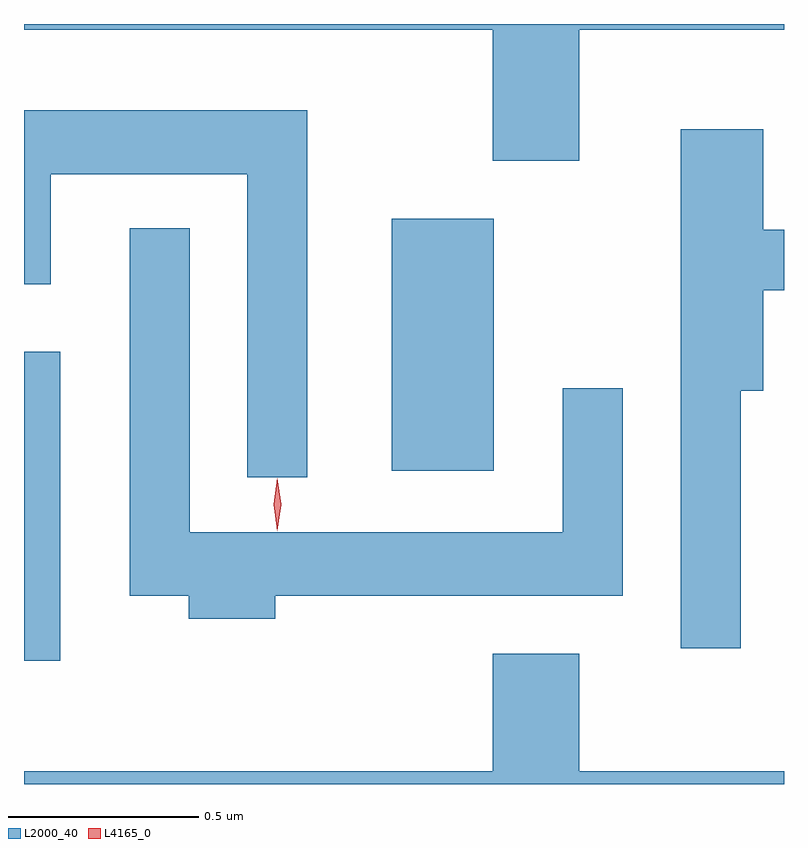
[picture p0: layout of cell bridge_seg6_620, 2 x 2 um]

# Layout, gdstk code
import gdstk
lib = gdstk.Library(unit=1e-6, precision=1e-09)
def R(c, l, rs):  # rectangles x0, y0, x1, y1
    for r in rs: c.add(gdstk.rectangle(r[:2], r[2:], *l))
def P(c, l, *ps):  # polygons
    for p in ps: c.add(gdstk.Polygon(p, *l))
L2000_40 = (2000, 40)
L4165_0 = (4165, 0)

bridge_seg6_620 = lib.new_cell('bridge_seg6_620')
R(bridge_seg6_620, L2000_40, [(488.088,1606.096,488.184,1606.909), (489.056,1606.596,489.324,1607.259)])
P(bridge_seg6_620, L2000_40, [(489.549,1607.756),(490.088,1607.756),(490.088,1607.771),(488.088,1607.771),(488.088,1607.756),(489.321,1607.756),(489.321,1607.411),(489.549,1607.411)],
  [(488.834,1607.544),(488.088,1607.544),(488.088,1607.086),(488.159,1607.086),(488.159,1607.376),(488.676,1607.376),(488.676,1606.578),(488.834,1606.578)],
  [(489.974,1606.806),(490.034,1606.806),(490.034,1607.071),(490.088,1607.071),(490.088,1607.229),(490.034,1607.229),(490.034,1607.494),(489.816,1607.494),(489.816,1606.128),(489.974,1606.128)],
  [(488.749,1606.266),(489.664,1606.266),(489.664,1606.813),(489.506,1606.813),(489.506,1606.434),(488.524,1606.434),(488.524,1607.233),(488.366,1607.233),(488.366,1606.266),(488.521,1606.266),(488.521,1606.206),(488.749,1606.206)],
  [(490.088,1605.804),(489.549,1605.804),(489.549,1606.114),(489.321,1606.114),(489.321,1605.804),(488.088,1605.804),(488.088,1605.771),(490.088,1605.771)])
P(bridge_seg6_620, L4165_0, [(488.754,1606.437),(488.745,1606.507),(488.754,1606.576),(488.755,1606.576),(488.755,1606.576),(488.765,1606.507),(488.755,1606.437),(488.755,1606.437)],
  [(488.755,1606.439),(488.754,1606.44),(488.745,1606.506),(488.754,1606.572),(488.755,1606.573),(488.755,1606.572),(488.765,1606.506),(488.755,1606.44)])

lib.write_gds('bridge_seg6_620.gds')
